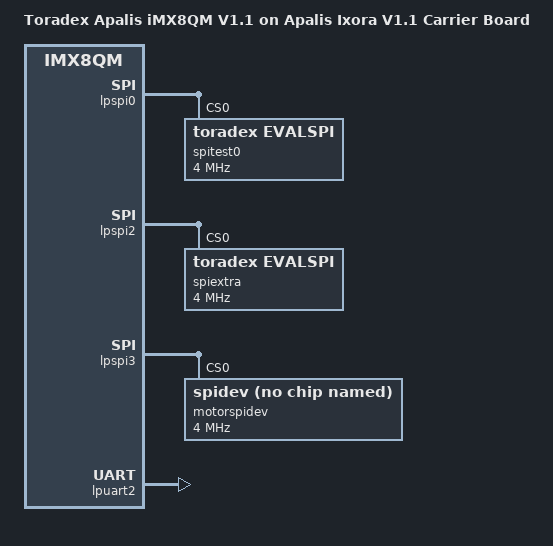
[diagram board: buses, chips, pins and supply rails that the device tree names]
// SPDX-License-Identifier: GPL-2.0+ OR X11
/*
 * Copyright 2019-2020 Toradex
 */

/dts-v1/;

#include "imx8qm-apalis-v1.1.dtsi"
#include "imx8-apalis-ixora-v1.1.dtsi"
/ {
	model = "Toradex Apalis iMX8QM V1.1 on Apalis Ixora V1.1 Carrier Board";
	compatible = "toradex,apalis-imx8-v1.1-ixora-v1.1",
		     "toradex,apalis-imx8-v1.1-ixora",
		     "toradex,apalis-imx8-v1.1",
		     "toradex,apalis-imx8",
		     "fsl,imx8qm";
};

&iomuxc {
       pinctrl-names = "default";
        pinctrl-0 = <&pinctrl_bssr>;


        apalis-imx8qm {
                pinctrl_bssr: bssrgpiogrp {
                        fsl,pins =

                            // Battery Module
                            //<IMX8QM_UART1_CTS_B_DMA_SPI3_CS0 0x104>, //BMS_CS
                            <IMX8QM_UART1_CTS_B_LSIO_GPIO0_IO27 0x104>, //BMS_CS
                            <IMX8QM_M41_GPIO0_01_LSIO_GPIO0_IO13 0x104>, //SAFE_STATE_TRIGGER
                            <IMX8QM_FLEXCAN2_RX_LSIO_GPIO4_IO01 0x104>, //HORN_ENABLE
                            <IMX8QM_FLEXCAN2_TX_LSIO_GPIO4_IO02 0x104>, //LS_RELAY_CTRL
                            <IMX8QM_MLB_SIG_LSIO_GPIO3_IO26 0x104>, //HS_RELAY_CTRL
                            <IMX8QM_MLB_DATA_LSIO_GPIO3_IO28 0x104>, //PRE_RELAY_CTRL

                            // Driver Interface Module
                            <IMX8QM_SPI0_CS0_LSIO_GPIO3_IO05 0x104>, //STEERING_CS_GPIO
                            <IMX8QM_SPI0_CS1_LSIO_GPIO3_IO06 0x104>, //STEERING_CS_DISP
                            <IMX8QM_LVDS1_GPIO00_LSIO_GPIO1_IO10 0x104>, //STEERING_DISP_LED_CTRL
                            <IMX8QM_ENET1_RGMII_RXD3_LSIO_GPIO6_IO21 0x104>, //REVERSE_CAMERA_CTRL
                            <IMX8QM_ENET1_RGMII_RXD2_LSIO_GPIO6_IO20 0x104>, //BRAKE_SENSOR_BUFFER


                            // Miscellaneous Module
                            <IMX8QM_GPT1_COMPARE_LSIO_PWM2_OUT 0x104>, //LIGHTS_DRL_CTRL
                            <IMX8QM_GPT0_COMPARE_LSIO_PWM3_OUT 0x104>, //LIGHTS_LEFT_IND_CTRL
                            <IMX8QM_UART0_RTS_B_LSIO_PWM0_OUT 0x104>, //LIGHTS_RIGHT_IND_CTRL
                            <IMX8QM_UART0_CTS_B_LSIO_PWM1_OUT 0x104>, //LIGHTS_BRAKE_CTRL

                            // Sensor Module
                            <IMX8QM_QSPI1A_SS1_B_LSIO_GPIO4_IO20 0x104>, //SENSOR_STRAIN_RST
                            <IMX8QM_QSPI1A_SCLK_LSIO_GPIO4_IO21 0x104>, //SENSOR_IMU_RST
                            <IMX8QM_QSPI1A_DATA1_LSIO_GPIO4_IO25 0x104>, //HALL_EFFECT_A_3.3V
                            <IMX8QM_QSPI1A_DATA2_LSIO_GPIO4_IO24 0x104>, //HALL_EFFECT_B_3.3V
                            <IMX8QM_QSPI1A_DATA3_LSIO_GPIO4_IO23 0x104>, //GPS_FIX
                            <IMX8QM_QSPI1A_SS0_B_LSIO_GPIO4_IO19 0x104>, //GPS_PPS
                            <IMX8QM_QSPI1A_DQS_LSIO_GPIO4_IO22 0x104>, //GPS_EN

                            // Motor Module
                            <IMX8QM_ENET1_MDIO_LSIO_GPIO4_IO17 0x104>, //MOTOR_SPEED_PULSE
                            <IMX8QM_ENET1_MDC_LSIO_GPIO4_IO18 0x104>, //MOTOR_LED
                            <IMX8QM_ENET1_RGMII_TXD2_LSIO_GPIO6_IO14 0x104>, //MOTOR_MAIN
                            <IMX8QM_ENET1_RGMII_TXD1_LSIO_GPIO6_IO13 0x104>, //MOTOR_FWD/REV
                            <IMX8QM_ENET1_RGMII_TXD0_LSIO_GPIO6_IO12 0x104>, //MOTOR_VFM_UP
                            <IMX8QM_ENET1_RGMII_TXC_LSIO_GPIO6_IO10 0x104>, //MOTOR_VFM_DOWN
                            <IMX8QM_ENET1_RGMII_TX_CTL_LSIO_GPIO6_IO11 0x104>, //MOTOR_PWR/ECO
                            <IMX8QM_ENET1_RGMII_RX_CTL_LSIO_GPIO6_IO17 0x104>, //MOTOR_VFM_RESET
                            <IMX8QM_ENET1_REFCLK_125M_25M_LSIO_GPIO4_IO16 0x104>, //MOTOR_MTA_0
                            <IMX8QM_ESAI0_FSR_LSIO_GPIO2_IO22 0x104>, //MOTOR_MTA_1
                            <IMX8QM_ESAI0_FST_LSIO_GPIO2_IO23 0x104>, //MOTOR_MTA_2
                            <IMX8QM_SIM0_GPIO0_00_LSIO_GPIO0_IO05 0x104>, //MOTOR_MTA_3
                            <IMX8QM_SIM0_RST_LSIO_GPIO0_IO01 0x104>, //VFM_MOTOR_STALL_SIG
                            <IMX8QM_SIM0_CLK_LSIO_GPIO0_IO00 0x104>, //VFM_ENCODER_A_3.3V
                            <IMX8QM_LVDS1_I2C0_SCL_LSIO_GPIO1_IO12 0x104>, //VFM_ENCODER_B_3.3V
                            <IMX8QM_LVDS1_I2C0_SDA_LSIO_GPIO1_IO13 0x104>, //VFM_MOTOR_EN
                            <IMX8QM_USDHC2_DATA2_LSIO_GPIO5_IO28 0x104>, //MOTOR_REGEN_CS
                            <IMX8QM_USDHC2_DATA3_LSIO_GPIO5_IO29 0x104>, //MOTOR_ACCEL_CS

                            // Toradex Module
                            <IMX8QM_ENET1_RGMII_RXD1_LSIO_GPIO6_IO19 0x104>, //DEBUG_LED0_CTRL
                            <IMX8QM_ENET1_RGMII_RXD0_LSIO_GPIO6_IO18 0x104>, //DEBUG_LED1_CTRL
                            <IMX8QM_LVDS0_GPIO00_LSIO_GPIO1_IO04 0x104>, //DEBUG_LED2_CTRL
                            <IMX8QM_M40_GPIO0_01_LSIO_GPIO0_IO09 0x104>, //USER_BUTTON_0
                            <IMX8QM_M41_GPIO0_00_LSIO_GPIO0_IO12 0x104>, //HEATSINK_FAN_CTRL

                            //<IMX8QM_SPI2_CS0_DMA_SPI2_CS0 0x104>, //ADC_CS
                            <IMX8QM_SPI2_CS0_LSIO_GPIO3_IO10 0x104>, //ADC_CS

                            // PSM
                            <IMX8QM_USDHC1_DATA4_LSIO_GPIO5_IO19 0x104>, //PSM_MOTOR_CS
                            <IMX8QM_USDHC1_DATA5_LSIO_GPIO5_IO20 0x104>, //PSM_ARRAY_CS
                            <IMX8QM_USDHC1_DATA6_LSIO_GPIO5_IO21 0x104>, //PSM_BATT_CS
                            <IMX8QM_QSPI1A_DATA0_LSIO_GPIO4_IO26 0x104>, //LV_PSM_PSU_CTRL
                            <IMX8QM_SPI2_CS1_DMA_SPI2_CS1 0x104>; //LV_PSM_CS
                };

            // Steering Wheel
            pinctrl_bssr_lpspi0: bssrlpspi0grp {
                fsl,pins = <
                    IMX8QM_SPI0_SCK_DMA_SPI0_SCK                    0x0600004c
                    IMX8QM_SPI0_SDO_DMA_SPI0_SDO                    0x0600004c
                    IMX8QM_SPI0_SDI_DMA_SPI0_SDI                    0x0600004c
                >;
            };

            // PSM ADC
            pinctrl_bssr_lpspi2: bssrlpspi2grp {
                fsl,pins = <
                    IMX8QM_SPI2_SCK_DMA_SPI2_SCK                    0x0600004c
                    IMX8QM_SPI2_SDO_DMA_SPI2_SDO                    0x0600004c
                    IMX8QM_SPI2_SDI_DMA_SPI2_SDI                    0x0600004c
                >;
            };

            // BMS Motor
            pinctrl_bssr_lpspi3: bssrlpspi3grp {
                fsl,pins = <
                    IMX8QM_UART1_TX_DMA_SPI3_SCK			0x0600004c
                    IMX8QM_UART1_RX_DMA_SPI3_SDO            0x0600004c
                    IMX8QM_UART1_RTS_B_DMA_SPI3_SDI			0x0600004c
                >;
            };

            /*
            // Debug
            pinctrl_bssr_uart0: bssruart0grp {
                fsl,pins = 
                    <IMX8QM_UART0_RX_DMA_UART0_RX 0x104>, //DEBUG_UART3_RX
                    <IMX8QM_UART0_TX_DMA_UART0_TX 0x104>; //DEBUG_UART3_TX
            };
            */
            
            // Radio
            pinctrl_bssr_uart1: bssruart1grp {
                fsl,pins = 
                    <IMX8QM_LVDS0_I2C1_SCL_DMA_UART2_TX 0x104>, // Radio Tx
                    <IMX8QM_LVDS0_I2C1_SDA_DMA_UART2_RX 0x104>; // Radio Rx
            };
            
            /*
            // Sensor
            pinctrl_bssr_uart2: bssruart2grp {
                fsl,pins = 
                    <IMX8QM_M41_GPIO0_00_DMA_UART3_RX 0x104>, //SENSOR_UART2_TX
                    <IMX8QM_M41_GPIO0_01_DMA_UART3_TX 0x104>; //SENSOR_UART2_RX
                    
            };
            
            // Sensor1
            pinctrl_bssr_i2c0: bssri2c0grp {
                fsl,pins = 
                    <IMX8QM_GPT1_CLK_DMA_I2C2_SCL 0x104>, //SENSOR_I2C1_SCL
                    <IMX8QM_GPT1_CAPTURE_DMA_I2C2_SDA 0x104>; //SENSOR_I2C1_SDA
            };

            // Sensor2
            pinctrl_bssr_i2c1: bssri2c1grp {
                fsl,pins = 
                    <IMX8QM_SIM0_PD_DMA_I2C3_SCL 0x104>, //SENSOR_I2C3_SDA
                    <IMX8QM_SIM0_POWER_EN_DMA_I2C3_SDA 0x104>; //SENSOR_I2C3_SCL
            };
        */

        };
};

/delete-node/ &pinctrl_lpspi0;

// spidev0
&lpspi0 {
	pinctrl-names = "default";
    pinctrl-0 = <&pinctrl_bssr_lpspi0>;
    #address-cells = <1>;
    #size-cells = <0>;
	/delete-property/ cs-gpios;
    
        spitest0: spi@0 {
                compatible = "toradex,evalspi";
                reg = <0>;
                spi-max-frequency = <4000000>;
        };

};

&lpuart1 {
    status = "disabled";
};

//spidev1
&lpspi2 {
	pinctrl-names = "default";
	pinctrl-0 = <&pinctrl_bssr_lpspi2>;
	#address-cells = <1>;
	#size-cells = <0>;
	/delete-property/ cs-gpios;

	spiextra: extraspi@0 {
		compatible = "toradex,evalspi";
		reg = <0>;
		spi-max-frequency = <4000000>;
	};
};

// spidev2
&lpspi3 {
	status = "okay";
	pinctrl-names = "default";
    pinctrl-0 = <&pinctrl_bssr_lpspi3>;
    #address-cells = <1>;
    #size-cells = <0>;
	/delete-property/ cs-gpios;

        motorspidev: motorspi@0 {
                compatible = "linux,spidev";
                reg = <0>;
                spi-max-frequency = <4000000>;
        };
};

/*
&lpuart0 {
    status = "okay";
    pinctrl-names = "default";
    pinctrl-0 = <&pinctrl_bssr_uart0>;
};
*/

&lpuart2 {
    status = "okay";
    pinctrl-names = "default";
    pinctrl-0 = <&pinctrl_bssr_uart1>;
};

/*
&lpuart3 {
    status = "okay";
    pinctrl-names = "default";
    pinctrl-0 = <&pinctrl_bssr_uart2>;
};

&i2c2 {
    status = "okay";
    pinctrl-names = "default";
    pinctrl-0 = <&pinctrl_bssr_i2c0>;
};

&i2c3 {
    status = "okay";
    pinctrl-names = "default";
    pinctrl-0 = <&pinctrl_bssr_i2c1>;
};
*/
